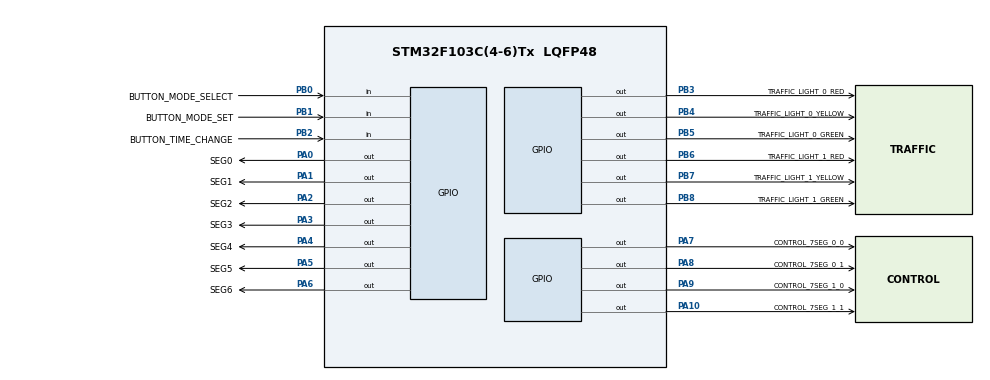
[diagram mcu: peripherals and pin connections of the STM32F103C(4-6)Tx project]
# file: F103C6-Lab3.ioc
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Mcu.Family=STM32F1
Mcu.Name=STM32F103C(4-6)Tx
Mcu.Package=LQFP48
NVIC.PriorityGroup=NVIC_PRIORITYGROUP_4
NVIC.TIM2_IRQn=true\:0\:0\:false\:false\:true\:true\:true\:true
PA0-WKUP.GPIO_Label=SEG0
PA0-WKUP.Signal=GPIO_Output
PA1.GPIO_Label=SEG1
PA1.Signal=GPIO_Output
PA10.GPIO_Label=CONTROL_7SEG_1_1
PA10.Signal=GPIO_Output
PA2.GPIO_Label=SEG2
PA2.Signal=GPIO_Output
PA3.GPIO_Label=SEG3
PA3.Signal=GPIO_Output
PA4.GPIO_Label=SEG4
PA4.Signal=GPIO_Output
PA5.GPIO_Label=SEG5
PA5.Signal=GPIO_Output
PA6.GPIO_Label=SEG6
PA6.Signal=GPIO_Output
PA7.GPIO_Label=CONTROL_7SEG_0_0
PA7.Signal=GPIO_Output
PA8.GPIO_Label=CONTROL_7SEG_0_1
PA8.Signal=GPIO_Output
PA9.GPIO_Label=CONTROL_7SEG_1_0
PA9.Signal=GPIO_Output
PB0.GPIO_Label=BUTTON_MODE_SELECT
PB0.GPIO_PuPd=GPIO_PULLUP
PB0.Signal=GPIO_Input
PB1.GPIO_Label=BUTTON_MODE_SET
PB1.GPIO_PuPd=GPIO_PULLUP
PB1.Signal=GPIO_Input
PB2.GPIO_Label=BUTTON_TIME_CHANGE
PB2.GPIO_PuPd=GPIO_PULLUP
PB2.Signal=GPIO_Input
PB3.GPIO_Label=TRAFFIC_LIGHT_0_RED
PB3.Signal=GPIO_Output
PB4.GPIO_Label=TRAFFIC_LIGHT_0_YELLOW
PB4.Signal=GPIO_Output
PB5.GPIO_Label=TRAFFIC_LIGHT_0_GREEN
PB5.Signal=GPIO_Output
PB6.GPIO_Label=TRAFFIC_LIGHT_1_RED
PB6.Signal=GPIO_Output
PB7.GPIO_Label=TRAFFIC_LIGHT_1_YELLOW
PB7.Signal=GPIO_Output
PB8.GPIO_Label=TRAFFIC_LIGHT_1_GREEN
PB8.Signal=GPIO_Output
ProjectManager.HeapSize=0x200
ProjectManager.StackSize=0x400
ProjectManager.TargetToolchain=STM32CubeIDE
RCC.APB1Freq_Value=8000000
RCC.APB2Freq_Value=8000000
TIM2.Period=10 - 1
TIM2.Prescaler=8000 - 1
VP_TIM2_VS_ClockSourceINT.Mode=Internal
board=custom

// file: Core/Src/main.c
/* USER CODE BEGIN Header */
/**
 ******************************************************************************
 * @file           : main.c
 * @brief          : Main program body
 ******************************************************************************
 * @attention
 *
 * Copyright (c) 2022 STMicroelectronics.
 * All rights reserved.
 *
 * This software is licensed under terms that can be found in the LICENSE file
 * in the root directory of this software component.
 * If no LICENSE file comes with this software, it is provided AS-IS.
 *
 ******************************************************************************
 */
/* USER CODE END Header */
#include "main.h"

/* USER CODE BEGIN Includes */
#include "User/global_object.h"
#include "User/fsm_traffic_light.h"
/* USER CODE END Includes */

TIM_HandleTypeDef htim2;

void SystemClock_Config(void);
static void MX_GPIO_Init(void);
static void MX_TIM2_Init(void);

int main(void)
{

  /* MCU Configuration--------------------------------------------------------*/

  /* Reset of all peripherals, Initializes the Flash interface and the Systick. */
  HAL_Init();

  /* Configure the system clock */
  SystemClock_Config();

  /* Initialize all configured peripherals */
  MX_GPIO_Init();
  MX_TIM2_Init();
  /* USER CODE BEGIN 2 */
	HAL_TIM_Base_Start_IT(&htim2);
  /* USER CODE END 2 */

	/* Infinite loop */
	/* USER CODE BEGIN WHILE */

	while (1)
	{
		FSM_state_t next_state = FSM_get_next_state(&fsm_traffic_light_system,
				FSM_traffic_light_get_next_state);
		FSM_set_to_next_state(&fsm_traffic_light_system, next_state,
				FSM_traffic_light_set_to_next_state);
		FSM_do_action_within_state(&fsm_traffic_light_system,
				FSM_traffic_light_do_action_within_state);
		/* USER CODE END WHILE */

	}
}

void SystemClock_Config(void)
{
  RCC_OscInitTypeDef RCC_OscInitStruct = {0};
  RCC_ClkInitTypeDef RCC_ClkInitStruct = {0};

  /** Initializes the RCC Oscillators according to the specified parameters
  * in the RCC_OscInitTypeDef structure.
  */
  RCC_OscInitStruct.OscillatorType = RCC_OSCILLATORTYPE_HSI;
  RCC_OscInitStruct.HSIState = RCC_HSI_ON;
  RCC_OscInitStruct.HSICalibrationValue = RCC_HSICALIBRATION_DEFAULT;
  RCC_OscInitStruct.PLL.PLLState = RCC_PLL_NONE;
  if (HAL_RCC_OscConfig(&RCC_OscInitStruct) != HAL_OK)
  {
    Error_Handler();
  }

  /** Initializes the CPU, AHB and APB buses clocks
  */
  RCC_ClkInitStruct.ClockType = RCC_CLOCKTYPE_HCLK|RCC_CLOCKTYPE_SYSCLK
                              |RCC_CLOCKTYPE_PCLK1|RCC_CLOCKTYPE_PCLK2;
  RCC_ClkInitStruct.SYSCLKSource = RCC_SYSCLKSOURCE_HSI;
  RCC_ClkInitStruct.AHBCLKDivider = RCC_SYSCLK_DIV1;
  RCC_ClkInitStruct.APB1CLKDivider = RCC_HCLK_DIV1;
  RCC_ClkInitStruct.APB2CLKDivider = RCC_HCLK_DIV1;

  if (HAL_RCC_ClockConfig(&RCC_ClkInitStruct, FLASH_LATENCY_0) != HAL_OK)
  {
    Error_Handler();
  }
}

static void MX_TIM2_Init(void)
{

  TIM_ClockConfigTypeDef sClockSourceConfig = {0};
  TIM_MasterConfigTypeDef sMasterConfig = {0};

  htim2.Instance = TIM2;
  htim2.Init.Prescaler = 8000 - 1;
  htim2.Init.CounterMode = TIM_COUNTERMODE_UP;
  htim2.Init.Period = 10 - 1;
  htim2.Init.ClockDivision = TIM_CLOCKDIVISION_DIV1;
  htim2.Init.AutoReloadPreload = TIM_AUTORELOAD_PRELOAD_DISABLE;
  if (HAL_TIM_Base_Init(&htim2) != HAL_OK)
  {
    Error_Handler();
  }
  sClockSourceConfig.ClockSource = TIM_CLOCKSOURCE_INTERNAL;
  if (HAL_TIM_ConfigClockSource(&htim2, &sClockSourceConfig) != HAL_OK)
  {
    Error_Handler();
  }
  sMasterConfig.MasterOutputTrigger = TIM_TRGO_RESET;
  sMasterConfig.MasterSlaveMode = TIM_MASTERSLAVEMODE_DISABLE;
  if (HAL_TIMEx_MasterConfigSynchronization(&htim2, &sMasterConfig) != HAL_OK)
  {
    Error_Handler();
  }

}

static void MX_GPIO_Init(void)
{
  GPIO_InitTypeDef GPIO_InitStruct = {0};

  /* GPIO Ports Clock Enable */
  __HAL_RCC_GPIOA_CLK_ENABLE();
  __HAL_RCC_GPIOB_CLK_ENABLE();

  /*Configure GPIO pin Output Level */
  HAL_GPIO_WritePin(GPIOA, SEG0_Pin|SEG1_Pin|SEG2_Pin|SEG3_Pin
                          |SEG4_Pin|SEG5_Pin|SEG6_Pin|CONTROL_7SEG_0_0_Pin
                          |CONTROL_7SEG_0_1_Pin|CONTROL_7SEG_1_0_Pin|CONTROL_7SEG_1_1_Pin, GPIO_PIN_RESET);

  /*Configure GPIO pin Output Level */
  HAL_GPIO_WritePin(GPIOB, TRAFFIC_LIGHT_0_RED_Pin|TRAFFIC_LIGHT_0_YELLOW_Pin|TRAFFIC_LIGHT_0_GREEN_Pin|TRAFFIC_LIGHT_1_RED_Pin
                          |TRAFFIC_LIGHT_1_YELLOW_Pin|TRAFFIC_LIGHT_1_GREEN_Pin, GPIO_PIN_RESET);

  /*Configure GPIO pins : SEG0_Pin SEG1_Pin SEG2_Pin SEG3_Pin
                           SEG4_Pin SEG5_Pin SEG6_Pin CONTROL_7SEG_0_0_Pin
                           CONTROL_7SEG_0_1_Pin CONTROL_7SEG_1_0_Pin CONTROL_7SEG_1_1_Pin */
  GPIO_InitStruct.Pin = SEG0_Pin|SEG1_Pin|SEG2_Pin|SEG3_Pin
                          |SEG4_Pin|SEG5_Pin|SEG6_Pin|CONTROL_7SEG_0_0_Pin
                          |CONTROL_7SEG_0_1_Pin|CONTROL_7SEG_1_0_Pin|CONTROL_7SEG_1_1_Pin;
  GPIO_InitStruct.Mode = GPIO_MODE_OUTPUT_PP;
  GPIO_InitStruct.Pull = GPIO_NOPULL;
  GPIO_InitStruct.Speed = GPIO_SPEED_FREQ_LOW;
  HAL_GPIO_Init(GPIOA, &GPIO_InitStruct);

  /*Configure GPIO pins : BUTTON_MODE_SELECT_Pin BUTTON_MODE_SET_Pin BUTTON_TIME_CHANGE_Pin */
  GPIO_InitStruct.Pin = BUTTON_MODE_SELECT_Pin|BUTTON_MODE_SET_Pin|BUTTON_TIME_CHANGE_Pin;
  GPIO_InitStruct.Mode = GPIO_MODE_INPUT;
  GPIO_InitStruct.Pull = GPIO_PULLUP;
  HAL_GPIO_Init(GPIOB, &GPIO_InitStruct);

  /*Configure GPIO pins : TRAFFIC_LIGHT_0_RED_Pin TRAFFIC_LIGHT_0_YELLOW_Pin TRAFFIC_LIGHT_0_GREEN_Pin TRAFFIC_LIGHT_1_RED_Pin
                           TRAFFIC_LIGHT_1_YELLOW_Pin TRAFFIC_LIGHT_1_GREEN_Pin */
  GPIO_InitStruct.Pin = TRAFFIC_LIGHT_0_RED_Pin|TRAFFIC_LIGHT_0_YELLOW_Pin|TRAFFIC_LIGHT_0_GREEN_Pin|TRAFFIC_LIGHT_1_RED_Pin
                          |TRAFFIC_LIGHT_1_YELLOW_Pin|TRAFFIC_LIGHT_1_GREEN_Pin;
  GPIO_InitStruct.Mode = GPIO_MODE_OUTPUT_PP;
  GPIO_InitStruct.Pull = GPIO_NOPULL;
  GPIO_InitStruct.Speed = GPIO_SPEED_FREQ_LOW;
  HAL_GPIO_Init(GPIOB, &GPIO_InitStruct);

}

/* USER CODE BEGIN 4 */
void HAL_TIM_PeriodElapsedCallback(TIM_HandleTypeDef *htim)
{
	// this function run every 10ms due to timer 2 update
	if (htim->Instance == TIM2)
	{
		software_timer_update_after_tick(&timer_traffic_light);
		software_timer_update_after_tick(&timer_update_7seg);

		button_poll_and_update_state(&button_mode_select);
		button_poll_and_update_state(&button_mode_set);
		button_poll_and_update_state(&button_time_change);
	}
}

/* USER CODE END 4 */

void Error_Handler(void)
{
	__disable_irq();
	while (1)
	{
	}
}
